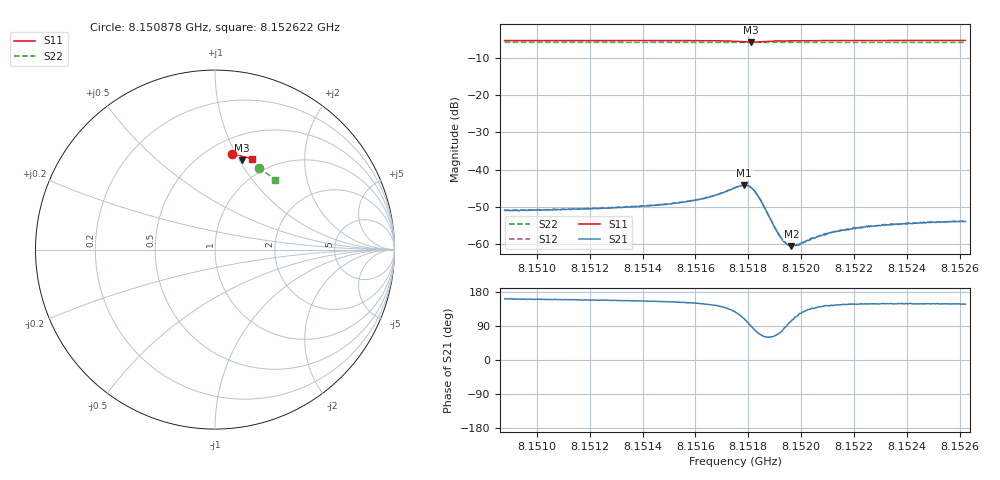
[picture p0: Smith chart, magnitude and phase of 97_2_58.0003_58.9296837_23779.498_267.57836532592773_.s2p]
#  HZ  S  RI  R  50.00
! Rohde & Schwarz Vector Network Analyzer
! Rohde-Schwarz,ZNB20-2Port,1311601062101988,3.16
! Created: UTC 3/21/2024, 12:54:39 AM
! freq[Hz]  re:S11  im:S11  re:S21  im:S21  re:S12  im:S12  re:S22  im:S22
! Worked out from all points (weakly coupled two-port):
!   401 points, 8.150878 GHz to 8.152622 GHz, reference 50 ohm
!   highest |S21| = -44.22 dB at 8.151785 GHz (marker M1); lowest = -60.6 dB at 8.151964 GHz (marker M2)
!   lowest |S11| = -5.7 dB at 8.151811 GHz (marker M3), VSWR 3.16, Z = 37.7 + j51.3 ohm
!   |S11| at or under -10 dB: nowhere
!   |S22| runs from -5.8 to -5.8 dB; largest |S21 - S12| = 0.00014
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8.1508778e9  0.0948 0.5342  -0.00271 0.000893  -0.00268 0.000953  0.2434 0.4532
8.1511699e9  0.1155 0.5305  -0.00275 0.0011  -0.00277 0.00116  0.2597 0.4436
8.1514621e9  0.1373 0.5253  -0.00301 0.00145  -0.00307 0.00148  0.2756 0.4335
8.1516234e9  0.1508 0.5203  -0.00344 0.00211  -0.00343 0.00218  0.2844 0.4276
8.1516801e9  0.1564 0.5166  -0.00368 0.0027  -0.00364 0.00279  0.2872 0.4253
8.1517499e9  0.1618 0.5065  -0.00343 0.00456  -0.00338 0.00464  0.2909 0.4224
8.1517848e9  0.1584 0.4983  -0.00198 0.00582  -0.00187 0.00591  0.2923 0.4209
8.1518109e9  0.1503 0.4964  7.3e-05 0.00572  0.000151 0.00574  0.2932 0.42
8.151824e9  0.1465 0.4986  0.000935 0.00507  0.00103 0.00507  0.2938 0.4197
8.1518415e9  0.1438 0.503  0.00148 0.0039  0.0016 0.00388  0.2948 0.4194
8.1519069e9  0.1497 0.5149  0.000614 0.00137  0.000649 0.00138  0.2984 0.4172
8.1519243e9  0.1522 0.516  0.00033 0.00116  0.000341 0.00116  0.2993 0.4165
8.1519417e9  0.1546 0.5166  4.47e-05 0.00103  5.44e-05 0.00102  0.3003 0.4158
8.1519548e9  0.1562 0.5169  -0.000144 0.000943  -0.000125 0.000976  0.3012 0.4154
8.1519635e9  0.1573 0.517  -0.000222 0.000907  -0.000184 0.000931  0.3016 0.4151
8.1519853e9  0.1597 0.517  -0.000422 0.000869  -0.000456 0.000879  0.3025 0.4142
8.152042e9  0.1652 0.5166  -0.000868 0.000807  -0.000836 0.000858  0.3055 0.412
8.1521162e9  0.1718 0.5153  -0.00117 0.000829  -0.00116 0.000842  0.3095 0.409
8.1521641e9  0.1755 0.5145  -0.00129 0.000848  -0.00132 0.000869  0.3118 0.4071
8.1522034e9  0.1787 0.5137  -0.00133 0.000869  -0.00136 0.000883  0.3139 0.4055
8.1523342e9  0.1883 0.5107  -0.00155 0.000946  -0.00156 0.000945  0.3203 0.4002
8.152622e9  0.2078 0.5039  -0.00169 0.00108  -0.00172 0.0011  0.3343 0.3882
